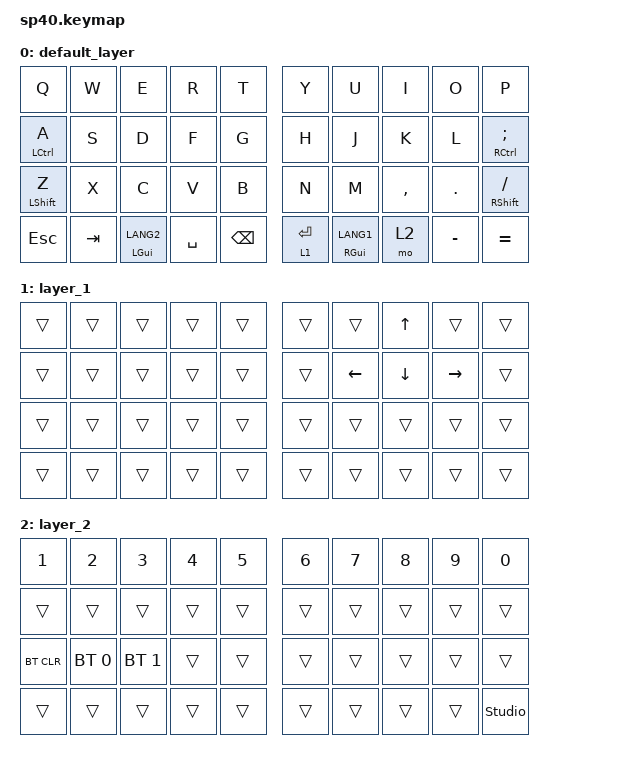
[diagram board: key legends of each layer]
#include <behaviors.dtsi>
#include <dt-bindings/zmk/keys.h>
#include <dt-bindings/zmk/bt.h>


/ {
    behaviors {
        mt: mod_tap {
            compatible = "zmk,behavior-hold-tap";
            #binding-cells = <2>;
            tapping-term-ms = <200>;
            quick-tap-ms = <125>;
            require-prior-idle-ms = <125>;
            flavor = "balanced";
            bindings = <&kp>, <&kp>;
        };

        lt: layer_tap {
            compatible = "zmk,behavior-hold-tap";
            #binding-cells = <2>;
            tapping-term-ms = <200>;
            quick-tap-ms = <125>;
            require-prior-idle-ms = <125>;
            flavor = "balanced";
            bindings = <&mo>, <&kp>;
        };
    };

    keymap {
        compatible = "zmk,keymap";

        default_layer {
           // [Row 1] Q W E R T | Y U I O P
            // [Row 2] A(LCTRL) S D F G | H J K L ;(RCTRL)
            // [Row 3] Z(LSHIFT) X C V B | N M , . /(RSHIFT)
            // [Row 4] ESC TAB CMD SPC BSPC | ENT(L1) CMD(LANG1) L2 MINUS EQUAL
            bindings = <
                &kp Q          &kp W      &kp E          &kp R       &kp T          &kp Y       &kp U          &kp I      &kp O      &kp P
                &mt LCTRL A    &kp S      &kp D          &kp F       &kp G          &kp H       &kp J          &kp K      &kp L      &mt RCTRL SEMI
                &mt LSHFT Z    &kp X      &kp C          &kp V       &kp B          &kp N       &kp M          &kp COMMA  &kp DOT    &mt RSHFT FSLH
                &kp ESC        &kp TAB    &mt LGUI LANG2 &kp SPACE   &kp BSPC       &lt 1 RET   &mt RGUI LANG1 &mo 2      &kp MINUS  &kp EQUAL
            >;
        };
        layer_1 {
            // Navigation Layer (IJKL -> UP/LEFT/DOWN/RIGHT)
            bindings = <
                &trans     &trans     &trans     &trans      &trans         &trans      &trans     &kp UP     &trans     &trans
                &trans     &trans     &trans     &trans      &trans         &trans      &kp LEFT   &kp DOWN   &kp RIGHT  &trans
                &trans     &trans     &trans     &trans      &trans         &trans      &trans     &trans     &trans     &trans
                &trans     &trans     &trans     &trans      &trans         &trans      &trans     &trans     &trans     &trans
            >;
        };
        layer_2 {
            // Number Layer (Q-P -> 1-0)
            bindings = <
                &kp N1     &kp N2     &kp N3     &kp N4      &kp N5         &kp N6      &kp N7     &kp N8     &kp N9     &kp N0
                &trans     &trans     &trans     &trans      &trans         &trans      &trans     &trans     &trans     &trans
                &bt BT_CLR &bt BT_SEL 0 &bt BT_SEL 1 &trans   &trans         &trans      &trans     &trans     &trans     &trans
                &trans     &trans     &trans     &trans      &trans         &trans      &trans     &trans     &trans     &studio_unlock
            >;
        };
    };
};
